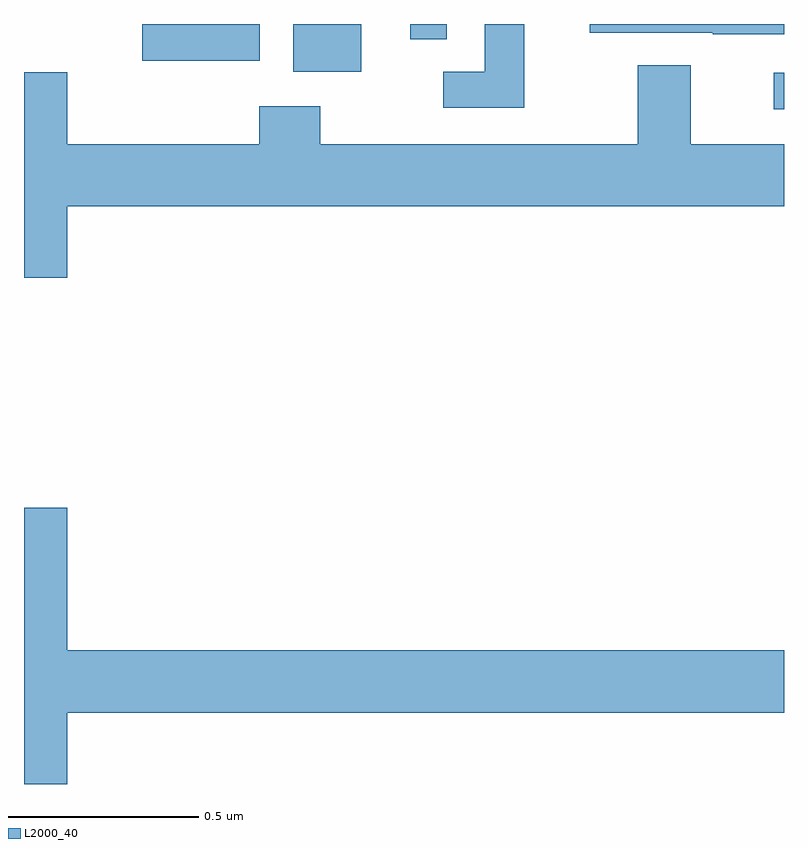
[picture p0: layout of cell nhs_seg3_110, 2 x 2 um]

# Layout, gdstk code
import gdstk
lib = gdstk.Library(unit=1e-6, precision=1e-09)
def R(c, l, rs):  # rectangles x0, y0, x1, y1
    for r in rs: c.add(gdstk.rectangle(r[:2], r[2:], *l))
def P(c, l, *ps):  # polygons
    for p in ps: c.add(gdstk.Polygon(p, *l))
L2000_40 = (2000, 40)

nhs_seg3_110 = lib.new_cell('nhs_seg3_110')
R(nhs_seg3_110, L2000_40, [(113.973,697.176,114,697.272), (112.709,697.274,112.888,697.4), (112.311,697.303,112.62,697.4), (113.016,697.36,113.112,697.4)])
P(nhs_seg3_110, L2000_40, [(113.317,697.4),(113.213,697.4),(113.213,697.275),(113.103,697.275),(113.103,697.179),(113.317,697.179)],
  [(114,697.4),(113.489,697.4),(113.489,697.377),(113.813,697.377),(113.813,697.373),(114,697.373)],
  [(112.114,696.92),(114,696.92),(114,697.084),(113.755,697.084),(113.755,697.292),(113.615,697.292),(113.615,697.084),(112.779,697.084),(112.779,697.183),(112.619,697.183),(112.619,697.084),(112.114,697.084),(112.114,697.273),(112,697.273),(112,696.732),(112.114,696.732)],
  [(112.114,695.588),(114,695.588),(114,695.752),(112.114,695.752),(112.114,696.127),(112,696.127),(112,695.4),(112.114,695.4)])

lib.write_gds('nhs_seg3_110.gds')
